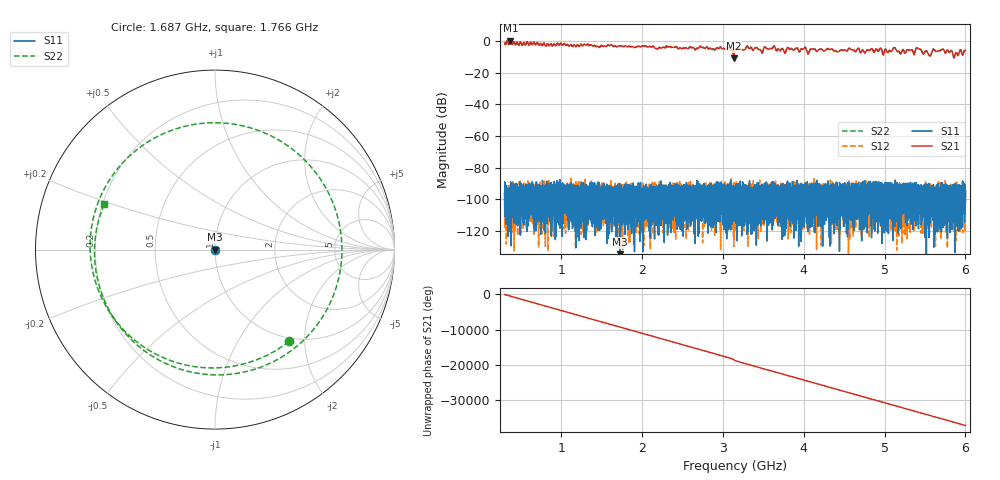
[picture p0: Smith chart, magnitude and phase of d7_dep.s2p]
!Agilent Technologies,N5230C,SG49000117,A.08.50.07
!Agilent N5230C: A.08.50.07
!Date: Sunday, March 17, 2024 06:44:14
!Correction: S11(Off)
!S21(Off)
!S12(Off)
!S22(Off)
!S2P File: Measurements: S11, S21, S12, S22:
# Hz S  RI  R 50
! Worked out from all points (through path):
!   20001 points, 300 MHz to 6 GHz, reference 50 ohm
!   highest |S21| = 0.35 dB at 372.4 MHz (marker M1); lowest = -10.8 dB at 3.132 GHz (marker M2)
!   lowest |S11| = -137.8 dB at 1.726 GHz (marker M3), VSWR 1.00, Z = 50 + j1.88e-07 ohm
!   |S11| at or under -10 dB: start of sweep to end of sweep
!   |S22| runs from -10.8 to 0.4 dB; largest |S21 - S12| = 1
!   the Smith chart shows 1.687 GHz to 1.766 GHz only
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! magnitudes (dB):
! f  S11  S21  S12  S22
! 300 MHz  -96.5  -1.2  -97.5  -1.2
! 372.4 MHz  -105.0  0.3  -103.2  0.4
! 1.25 GHz  -104.3  -2.2  -94.5  -2.2
! 1.726 GHz  -137.8  -3.0  -112.4  -3.0
! 2.2 GHz  -98.9  -4.6  -108.5  -4.6
! 3.067 GHz  -99.3  -4.2  -97.5  -4.2
! 3.132 GHz  -96.0  -10.8  -97.9  -10.8
! 3.15 GHz  -105.3  -5.3  -108.3  -5.3
! 3.317 GHz  -98.2  -4.3  -93.3  -4.2
! 3.472 GHz  -111.0  -6.0  -95.6  -6.0
! 3.621 GHz  -116.4  -3.8  -92.2  -3.7
! 3.761 GHz  -106.7  -7.0  -95.4  -7.0
! 4.1 GHz  -96.4  -4.9  -94.2  -4.8
! 5.05 GHz  -95.9  -6.6  -103.9  -6.6
! 5.121 GHz  -95.3  -4.1  -100.1  -4.1
! 5.182 GHz  -100.0  -7.0  -111.3  -6.9
! 5.356 GHz  -95.1  -7.5  -98.4  -7.5
! 5.415 GHz  -103.8  -4.6  -100.7  -4.7
! 5.556 GHz  -97.8  -9.2  -95.8  -9.3
! 5.71 GHz  -94.8  -5.4  -98.7  -5.4
! 5.878 GHz  -97.4  -7.8  -94.4  -7.9
! 6 GHz  -98.6  -5.9  -102.9  -5.9
